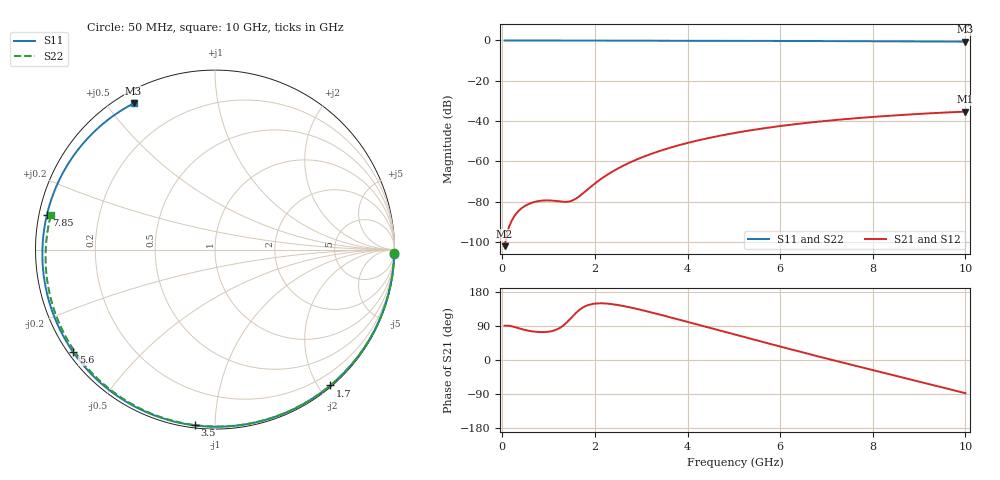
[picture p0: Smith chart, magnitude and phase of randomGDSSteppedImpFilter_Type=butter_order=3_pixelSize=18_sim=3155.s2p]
! freq	dB(S11)	phase(S11)	dB(S12)	phase(S12)
!  dB(S21)	phase(S21)	dB(S22)	phase(S22)
!S-par simulation data
#  GHz  S  DB  R 50
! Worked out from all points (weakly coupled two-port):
!   200 points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, 50 MHz to 10 GHz, reference 50 ohm
!   highest |S21| = -35.31 dB at 10 GHz (marker M1); lowest = -102.0 dB at 50 MHz (marker M2)
!   lowest |S11| = -0.6 dB at 10 GHz (marker M3), VSWR 28.59, Z = 2.35 + j29.3 ohm
!   |S11| at or under -10 dB: nowhere
!   |S22| runs from -0.6 to 0.0 dB; largest |S21 - S12| = 0
!   S11 on the Smith chart (normalised r, x): 50 MHz: 2, -79; 1.7 GHz: 0.02, -2.16; 3.5 GHz: 0.01, -0.89; 5.6 GHz: 0.01, -0.32; 7.85 GHz: 0.02, +0.10; 10 GHz: 0.05, +0.59
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0.05  -0.00 -1.5  -102.03 90.5  -102.03 90.5  -0.00 -1.1
0.7  -0.03 -20.9  -80.08 74.7  -80.08 74.7  -0.02 -15.9
0.95  -0.04 -28.2  -79.32 74.0  -79.32 74.0  -0.03 -21.5
1.4  -0.05 -41.2  -80.03 99.9  -80.03 99.9  -0.04 -31.4
1.55  -0.06 -45.5  -78.99 119.2  -78.99 119.2  -0.04 -34.7
1.7  -0.06 -49.7  -76.62 135.3  -76.62 135.3  -0.05 -38.0
1.75  -0.06 -51.1  -75.67 139.2  -75.67 139.2  -0.05 -39.1
2.1  -0.08 -60.7  -69.22 149.6  -69.22 149.6  -0.06 -46.6
2.45  -0.09 -70.1  -64.10 146.0  -64.10 146.0  -0.07 -54.0
2.9  -0.10 -81.7  -59.07 135.0  -59.07 135.0  -0.08 -63.3
3.4  -0.12 -94.2  -54.80 119.9  -54.80 119.9  -0.10 -73.4
3.5  -0.12 -96.7  -54.07 116.8  -54.07 116.8  -0.10 -75.4
4.25  -0.15 -114.3  -49.45 92.4  -49.45 92.4  -0.12 -89.9
5.05  -0.19 -132.2  -45.76 66.2  -45.76 66.2  -0.16 -104.8
5.6  -0.22 -144.1  -43.73 48.4  -43.73 48.4  -0.19 -114.7
6.15  -0.25 -155.7  -42.02 30.8  -42.02 30.8  -0.22 -124.3
6.7  -0.29 -167.3  -40.57 13.3  -40.57 13.3  -0.25 -133.9
7.3  -0.34 -179.9  -39.23 -5.3  -39.23 -5.3  -0.30 -144.1
7.85  -0.39 168.3  -38.19 -22.2  -38.19 -22.2  -0.35 -153.5
8.35  -0.43 157.4  -37.36 -37.3  -37.36 -37.3  -0.40 -162.1
9.15  -0.52 139.4  -36.24 -61.5  -36.24 -61.5  -0.48 -176.2
10  -0.61 119.1  -35.31 -87.7  -35.31 -87.7  -0.59 168.2
